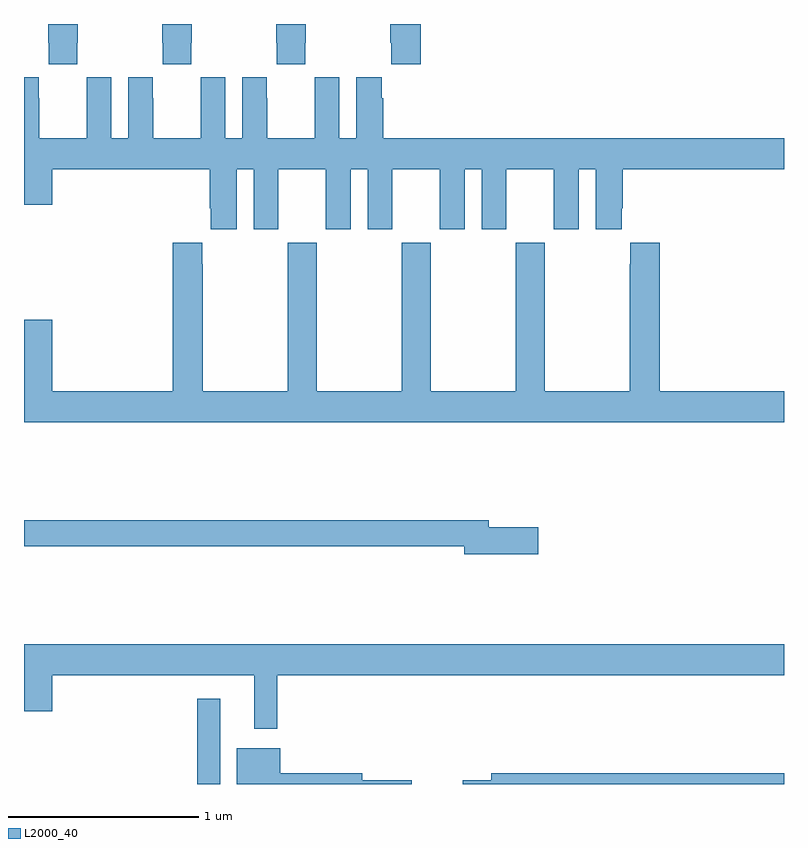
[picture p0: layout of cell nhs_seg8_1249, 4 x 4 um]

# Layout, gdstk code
import gdstk
lib = gdstk.Library(unit=1e-6, precision=1e-09)
def R(c, l, rs):  # rectangles x0, y0, x1, y1
    for r in rs: c.add(gdstk.rectangle(r[:2], r[2:], *l))
def P(c, l, *ps):  # polygons
    for p in ps: c.add(gdstk.Polygon(p, *l))
L2000_40 = (2000, 40)

nhs_seg8_1249 = lib.new_cell('nhs_seg8_1249')
R(nhs_seg8_1249, L2000_40, [(189.912,1143.9,190.033,1144.348)])
P(nhs_seg8_1249, L2000_40, [(189.279,1147.801),(189.282,1147.801),(189.282,1147.9),(189.127,1147.9),(189.127,1147.801),(189.129,1147.801),(189.129,1147.689),(189.279,1147.689)],
  [(189.879,1147.801),(189.882,1147.801),(189.882,1147.9),(189.727,1147.9),(189.727,1147.801),(189.729,1147.801),(189.729,1147.689),(189.879,1147.689)],
  [(190.479,1147.801),(190.482,1147.801),(190.482,1147.9),(190.327,1147.9),(190.327,1147.801),(190.329,1147.801),(190.329,1147.689),(190.479,1147.689)],
  [(191.087,1147.9),(190.927,1147.9),(190.927,1147.801),(190.933,1147.801),(190.933,1147.689),(191.087,1147.689)],
  [(189.93,1147.508),(189.929,1147.508),(189.929,1147.3),(189.679,1147.3),(189.679,1147.508),(189.678,1147.508),(189.678,1147.621),(189.548,1147.621),(189.548,1147.3),(189.46,1147.3),(189.46,1147.621),(189.33,1147.621),(189.33,1147.508),(189.329,1147.508),(189.329,1147.3),(189.079,1147.3),(189.079,1147.508),(189.078,1147.508),(189.078,1147.621),(189,1147.621),(189,1146.948),(189.148,1146.948),(189.148,1147.136),(189.977,1147.136),(189.977,1146.931),(189.983,1146.931),(189.983,1146.819),(190.12,1146.819),(190.12,1147.136),(190.208,1147.136),(190.208,1146.819),(190.339,1146.819),(190.339,1147.136),(190.589,1147.136),(190.589,1146.819),(190.72,1146.819),(190.72,1147.136),(190.808,1147.136),(190.808,1146.819),(190.939,1146.819),(190.939,1147.136),(191.189,1147.136),(191.189,1146.819),(191.32,1146.819),(191.32,1147.136),(191.408,1147.136),(191.408,1146.819),(191.539,1146.819),(191.539,1147.136),(191.789,1147.136),(191.789,1146.819),(191.92,1146.819),(191.92,1147.136),(192.008,1147.136),(192.008,1146.819),(192.145,1146.819),(192.145,1146.931),(192.152,1146.931),(192.152,1147.136),(193,1147.136),(193,1147.3),(190.892,1147.3),(190.892,1147.508),(190.882,1147.508),(190.882,1147.621),(190.748,1147.621),(190.748,1147.3),(190.66,1147.3),(190.66,1147.621),(190.53,1147.621),(190.53,1147.508),(190.529,1147.508),(190.529,1147.3),(190.279,1147.3),(190.279,1147.508),(190.278,1147.508),(190.278,1147.621),(190.148,1147.621),(190.148,1147.3),(190.06,1147.3),(190.06,1147.621),(189.93,1147.621)],
  [(193,1145.968),(192.347,1145.968),(192.347,1146.748),(192.191,1146.748),(192.191,1146.635),(192.187,1146.635),(192.187,1145.968),(191.742,1145.968),(191.742,1146.748),(191.587,1146.748),(191.587,1145.968),(191.142,1145.968),(191.142,1146.748),(190.987,1146.748),(190.987,1145.968),(190.542,1145.968),(190.542,1146.748),(190.387,1146.748),(190.387,1145.968),(189.942,1145.968),(189.942,1146.635),(189.937,1146.635),(189.937,1146.748),(189.782,1146.748),(189.782,1145.968),(189.148,1145.968),(189.148,1146.343),(189,1146.343),(189,1145.804),(193,1145.804)],
  [(191.707,1145.252),(191.446,1145.252),(191.446,1145.288),(189,1145.288),(189,1145.152),(191.318,1145.152),(191.318,1145.11),(191.707,1145.11)],
  [(190.333,1144.472),(193,1144.472),(193,1144.636),(189,1144.636),(189,1144.284),(189.148,1144.284),(189.148,1144.472),(190.211,1144.472),(190.211,1144.191),(190.333,1144.191)],
  [(191.041,1143.92),(190.78,1143.92),(190.78,1143.956),(190.348,1143.956),(190.348,1144.087),(190.121,1144.087),(190.121,1143.9),(191.041,1143.9)],
  [(193,1143.956),(191.459,1143.956),(191.459,1143.92),(191.31,1143.92),(191.31,1143.9),(193,1143.9)])

lib.write_gds('nhs_seg8_1249.gds')
